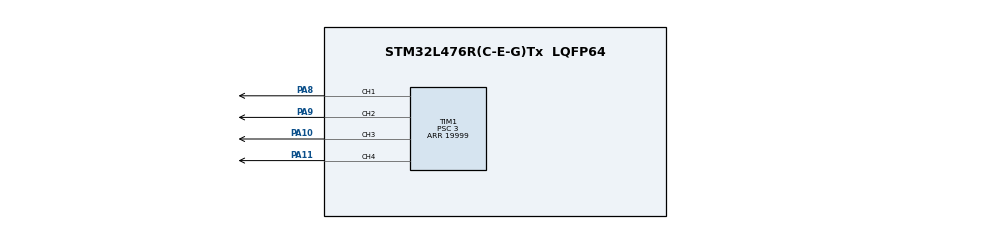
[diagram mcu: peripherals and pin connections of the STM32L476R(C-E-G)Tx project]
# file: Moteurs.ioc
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Mcu.Family=STM32L4
Mcu.Name=STM32L476R(C-E-G)Tx
Mcu.Package=LQFP64
NVIC.PriorityGroup=NVIC_PRIORITYGROUP_4
PA10.Signal=S_TIM1_CH3
PA11.Signal=S_TIM1_CH4
PA8.Signal=S_TIM1_CH1
PA9.Signal=S_TIM1_CH2
ProjectManager.HeapSize=0x200
ProjectManager.StackSize=0x400
ProjectManager.TargetToolchain=STM32CubeIDE
RCC.HSE_VALUE=8000000
RCC.HSI_VALUE=16000000
RCC.LSE_VALUE=32768
RCC.MSI_VALUE=4000000
RCC.VCOOutputFreq_Value=32000000
SH.S_TIM1_CH1.0=TIM1_CH1,PWM Generation1 CH1
SH.S_TIM1_CH2.0=TIM1_CH2,PWM Generation2 CH2
SH.S_TIM1_CH3.0=TIM1_CH3,Output Compare3 CH3
SH.S_TIM1_CH4.0=TIM1_CH4,PWM Generation4 CH4
TIM1.Channel-Output\ Compare3\ CH3=TIM_CHANNEL_3
TIM1.Channel-PWM\ Generation1\ CH1=TIM_CHANNEL_1
TIM1.Channel-PWM\ Generation2\ CH2=TIM_CHANNEL_2
TIM1.Channel-PWM\ Generation4\ CH4=TIM_CHANNEL_4
TIM1.Period=19999
TIM1.Prescaler=3
board=custom

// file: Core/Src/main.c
/* USER CODE BEGIN Header */
/**
  ******************************************************************************
  * @file           : main.c
  * @brief          : Main program body
  ******************************************************************************
  * @attention
  *
  * Copyright (c) 2025 STMicroelectronics.
  * All rights reserved.
  *
  * This software is licensed under terms that can be found in the LICENSE file
  * in the root directory of this software component.
  * If no LICENSE file comes with this software, it is provided AS-IS.
  *
  ******************************************************************************
  */
/* USER CODE END Header */
#include "main.h"

/* USER CODE BEGIN Includes */
#include "motor.h"
#include "stm32l4xx_hal.h"
#include "stdio.h"
/* USER CODE END Includes */

TIM_HandleTypeDef htim1;

void SystemClock_Config(void);
static void MX_GPIO_Init(void);
static void MX_TIM1_Init(void);

/* USER CODE BEGIN 0 */

// Motors declaration
h_motor_t motor1;
h_motor_t motor2;
h_motor_t motor3;
h_motor_t motor4;

// Motors Initialization
void System_Init() {
    motor1.htim = &htim1;
    motor1.channel = TIM_CHANNEL_1;
    motor2.htim = &htim1;
    motor2.channel = TIM_CHANNEL_2;
    motor3.htim = &htim1;
    motor3.channel = TIM_CHANNEL_3;
    motor4.htim = &htim1;
    motor4.channel = TIM_CHANNEL_4;

    motor_Init(&motor1);
    motor_Init(&motor2);
    motor_Init(&motor3);
    motor_Init(&motor4);
}

/* USER CODE END 0 */

int main(void)
{

  /* MCU Configuration--------------------------------------------------------*/

  /* Reset of all peripherals, Initializes the Flash interface and the Systick. */
  HAL_Init();

  /* Configure the system clock */
  SystemClock_Config();

  /* Initialize all configured peripherals */
  MX_GPIO_Init();
  MX_TIM1_Init();
  /* USER CODE BEGIN 2 */
  System_Init(); // Motors Initialization
  /* USER CODE END 2 */

  /* Infinite loop */
  /* USER CODE BEGIN WHILE */
  motor_ArmESC(&motor2);

  while (1)
  {
	  HAL_Delay(1000);
	  motor_SetPower(&motor2, 50);
	  HAL_Delay(2000);
	  motor_SetPower(&motor2, 0);

    /* USER CODE END WHILE */

  }
}

void SystemClock_Config(void)
{
  RCC_OscInitTypeDef RCC_OscInitStruct = {0};
  RCC_ClkInitTypeDef RCC_ClkInitStruct = {0};

  /** Configure the main internal regulator output voltage
  */
  if (HAL_PWREx_ControlVoltageScaling(PWR_REGULATOR_VOLTAGE_SCALE1) != HAL_OK)
  {
    Error_Handler();
  }

  /** Initializes the RCC Oscillators according to the specified parameters
  * in the RCC_OscInitTypeDef structure.
  */
  RCC_OscInitStruct.OscillatorType = RCC_OSCILLATORTYPE_MSI;
  RCC_OscInitStruct.MSIState = RCC_MSI_ON;
  RCC_OscInitStruct.MSICalibrationValue = 0;
  RCC_OscInitStruct.MSIClockRange = RCC_MSIRANGE_6;
  RCC_OscInitStruct.PLL.PLLState = RCC_PLL_NONE;
  if (HAL_RCC_OscConfig(&RCC_OscInitStruct) != HAL_OK)
  {
    Error_Handler();
  }

  /** Initializes the CPU, AHB and APB buses clocks
  */
  RCC_ClkInitStruct.ClockType = RCC_CLOCKTYPE_HCLK|RCC_CLOCKTYPE_SYSCLK
                              |RCC_CLOCKTYPE_PCLK1|RCC_CLOCKTYPE_PCLK2;
  RCC_ClkInitStruct.SYSCLKSource = RCC_SYSCLKSOURCE_MSI;
  RCC_ClkInitStruct.AHBCLKDivider = RCC_SYSCLK_DIV1;
  RCC_ClkInitStruct.APB1CLKDivider = RCC_HCLK_DIV1;
  RCC_ClkInitStruct.APB2CLKDivider = RCC_HCLK_DIV1;

  if (HAL_RCC_ClockConfig(&RCC_ClkInitStruct, FLASH_LATENCY_0) != HAL_OK)
  {
    Error_Handler();
  }
}

static void MX_TIM1_Init(void)
{

  TIM_MasterConfigTypeDef sMasterConfig = {0};
  TIM_OC_InitTypeDef sConfigOC = {0};
  TIM_BreakDeadTimeConfigTypeDef sBreakDeadTimeConfig = {0};

  htim1.Instance = TIM1;
  htim1.Init.Prescaler = 3;
  htim1.Init.CounterMode = TIM_COUNTERMODE_UP;
  htim1.Init.Period = 19999;
  htim1.Init.ClockDivision = TIM_CLOCKDIVISION_DIV1;
  htim1.Init.RepetitionCounter = 0;
  htim1.Init.AutoReloadPreload = TIM_AUTORELOAD_PRELOAD_DISABLE;
  if (HAL_TIM_PWM_Init(&htim1) != HAL_OK)
  {
    Error_Handler();
  }
  if (HAL_TIM_OC_Init(&htim1) != HAL_OK)
  {
    Error_Handler();
  }
  sMasterConfig.MasterOutputTrigger = TIM_TRGO_RESET;
  sMasterConfig.MasterOutputTrigger2 = TIM_TRGO2_RESET;
  sMasterConfig.MasterSlaveMode = TIM_MASTERSLAVEMODE_DISABLE;
  if (HAL_TIMEx_MasterConfigSynchronization(&htim1, &sMasterConfig) != HAL_OK)
  {
    Error_Handler();
  }
  sConfigOC.OCMode = TIM_OCMODE_PWM1;
  sConfigOC.Pulse = 0;
  sConfigOC.OCPolarity = TIM_OCPOLARITY_HIGH;
  sConfigOC.OCNPolarity = TIM_OCNPOLARITY_HIGH;
  sConfigOC.OCFastMode = TIM_OCFAST_DISABLE;
  sConfigOC.OCIdleState = TIM_OCIDLESTATE_RESET;
  sConfigOC.OCNIdleState = TIM_OCNIDLESTATE_RESET;
  if (HAL_TIM_PWM_ConfigChannel(&htim1, &sConfigOC, TIM_CHANNEL_1) != HAL_OK)
  {
    Error_Handler();
  }
  if (HAL_TIM_PWM_ConfigChannel(&htim1, &sConfigOC, TIM_CHANNEL_2) != HAL_OK)
  {
    Error_Handler();
  }
  sConfigOC.OCMode = TIM_OCMODE_TIMING;
  if (HAL_TIM_OC_ConfigChannel(&htim1, &sConfigOC, TIM_CHANNEL_3) != HAL_OK)
  {
    Error_Handler();
  }
  sConfigOC.OCMode = TIM_OCMODE_PWM1;
  if (HAL_TIM_PWM_ConfigChannel(&htim1, &sConfigOC, TIM_CHANNEL_4) != HAL_OK)
  {
    Error_Handler();
  }
  sBreakDeadTimeConfig.OffStateRunMode = TIM_OSSR_DISABLE;
  sBreakDeadTimeConfig.OffStateIDLEMode = TIM_OSSI_DISABLE;
  sBreakDeadTimeConfig.LockLevel = TIM_LOCKLEVEL_OFF;
  sBreakDeadTimeConfig.DeadTime = 0;
  sBreakDeadTimeConfig.BreakState = TIM_BREAK_DISABLE;
  sBreakDeadTimeConfig.BreakPolarity = TIM_BREAKPOLARITY_HIGH;
  sBreakDeadTimeConfig.BreakFilter = 0;
  sBreakDeadTimeConfig.Break2State = TIM_BREAK2_DISABLE;
  sBreakDeadTimeConfig.Break2Polarity = TIM_BREAK2POLARITY_HIGH;
  sBreakDeadTimeConfig.Break2Filter = 0;
  sBreakDeadTimeConfig.AutomaticOutput = TIM_AUTOMATICOUTPUT_DISABLE;
  if (HAL_TIMEx_ConfigBreakDeadTime(&htim1, &sBreakDeadTimeConfig) != HAL_OK)
  {
    Error_Handler();
  }
  HAL_TIM_MspPostInit(&htim1);

}

static void MX_GPIO_Init(void)
{

  /* GPIO Ports Clock Enable */
  __HAL_RCC_GPIOA_CLK_ENABLE();

}

void Error_Handler(void)
{
  __disable_irq();
  while (1)
  {
  }
}
